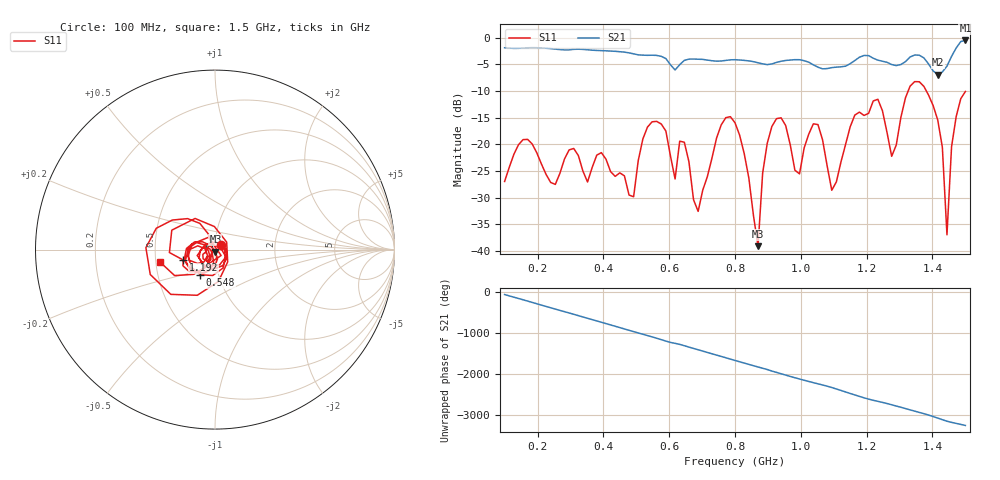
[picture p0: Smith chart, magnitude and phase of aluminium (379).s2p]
! NanoVNA-App
! Date: 2025-09-25 14:58:14
! Start: 100MHz Stop: 1,5GHz Points: 101
! S-Parameter data: F S11 S21 S12 S22
# Hz S RI R 50
!  Frequency  S11_Real  S11_Imag  S21_Real  S21_Imag  S12_Real  S12_Imag  S22_Real  S22_Imag
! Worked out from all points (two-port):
!   101 points, 100 MHz to 1.5 GHz, reference 50 ohm
!   highest |S21| = -0.55 dB at 1.5 GHz (marker M1); lowest = -7.0 dB at 1.416 GHz (marker M2)
!   |S21| within 3 dB of the highest: start of sweep to 576.7 MHz; 1.458 GHz to end of sweep (the widest 2 of 4)
!   lowest |S11| = -39.1 dB at 870 MHz (marker M3), VSWR 1.02, Z = 50.2 - j1.09 ohm
!   |S11| at or under -10 dB: start of sweep to 1.326 GHz; 1.381 GHz to end of sweep
!   S12 and S22 are empty: the file has one direction only
!   S11 on the Smith chart (normalised r, x): 100 MHz: 1.07, +0.06; 548 MHz: 0.82, -0.24; 1.192 GHz: 0.70, -0.08; 1.5 GHz: 0.53, -0.08
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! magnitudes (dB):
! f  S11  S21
! 100 MHz  -27.0  -1.9
! 156 MHz  -19.1  -2.0
! 338 MHz  -25.0  -2.2
! 492 MHz  -29.8  -3.1
! 548 MHz  -15.8  -3.3
! 576 MHz  -16.2  -3.5
! 646 MHz  -19.6  -4.3
! 688 MHz  -32.6  -4.1
! 800 MHz  -16.0  -4.2
! 870 MHz  -39.1  -4.7
! 912 MHz  -16.7  -5.0
! 996 MHz  -25.5  -4.2
! 1.038 GHz  -16.2  -5.1
! 1.094 GHz  -28.6  -5.6
! 1.192 GHz  -14.6  -3.4
! 1.234 GHz  -11.6  -4.2
! 1.276 GHz  -22.2  -5.1
! 1.346 GHz  -8.3  -3.3
! 1.416 GHz  -15.5  -7.0
! 1.444 GHz  -37.0  -5.4
! 1.458 GHz  -20.4  -3.5
! 1.5 GHz  -10.1  -0.6
